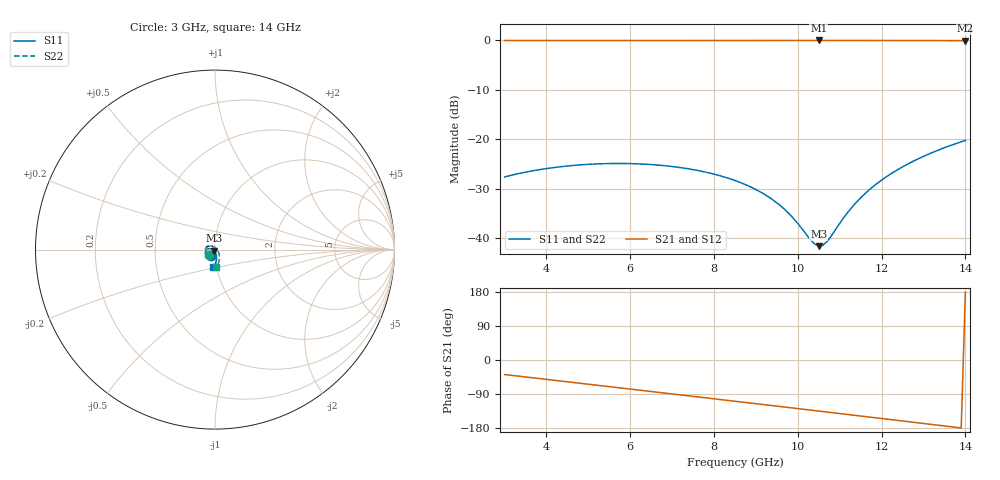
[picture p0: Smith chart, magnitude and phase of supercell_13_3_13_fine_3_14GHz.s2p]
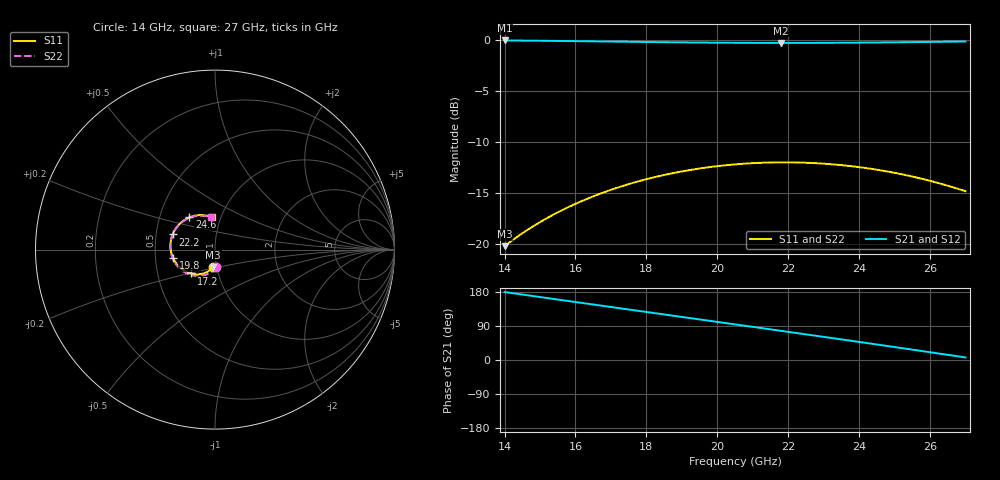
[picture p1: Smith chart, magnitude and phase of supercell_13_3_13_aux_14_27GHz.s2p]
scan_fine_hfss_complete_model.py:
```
#!/usr/bin/env python3
"""Coarse complete-model operating scan using joined 3--27 GHz HFSS data."""

from __future__ import annotations

import csv
import json
import logging
import sys
from pathlib import Path

import matplotlib

matplotlib.use("Agg")
import matplotlib.pyplot as plt
import numpy as np


ROOT = Path(__file__).resolve().parents[1]
sys.path[:0] = [str(ROOT / "code"), str(ROOT / "scripts")]

from analyze_hfss_supercell import (  # noqa: E402
    SUPERCELL_CELLS,
    read_touchstone,
)
from hfss_bloch import apply_bloch_parameters  # noqa: E402
from scan_hfss_loading_pattern import make_cell  # noqa: E402
from twpa_project_utils import gain_metrics, load_hfss_cell_parameters  # noqa: E402
from twpasolver import TWPAnalysis  # noqa: E402
from twpasolver.logger import log  # noqa: E402
from twpasolver.models import TWPA  # noqa: E402
from twpasolver.modes_rwa import ModeArrayFactory  # noqa: E402


def score(row: dict[str, object]) -> tuple[float, ...]:
    minimum = float(row["minimum_in_band_gain_db"])
    ripple = float(row["ripple_peak_to_peak_db"])
    fraction = float(row["fraction_above_17db"])
    return (
        float(minimum >= 17.0 and ripple <= 3.0),
        fraction,
        -max(0.0, 17.0 - minimum),
        -ripple,
        -abs(float(row["mean_in_band_gain_db"]) - 22.0),
    )


def main() -> None:
    log.setLevel(logging.WARNING)
    inputs = ROOT / "hfss_inputs"
    output = ROOT / "results" / "bloch_corrected" / "step_16_fine_hfss_complete_scan"
    output.mkdir(parents=True, exist_ok=True)

    cells, provenance = load_hfss_cell_parameters(inputs / "hfss_cell_parameters.csv")
    f1, s1 = read_touchstone(inputs / "supercell_13_3_13_fine_3_14GHz.s2p")
    f2, s2 = read_touchstone(inputs / "supercell_13_3_13_aux_14_27GHz.s2p")
    if not np.allclose(s1[-1], s2[0], rtol=1e-10, atol=1e-12):
        raise ValueError("HFSS sweeps disagree at their 14 GHz overlap")
    measured_f = np.concatenate((f1, f2[1:]))
    measured_s = np.concatenate((s1, s2[1:]), axis=0)

    twpa = TWPA(
        cells=[
            make_cell(cells["unloaded"], 13),
            make_cell(cells["loaded"], 3),
            make_cell(cells["unloaded"], 13),
        ],
        N=1407,
        Istar=2e-3,
        Idc=315e-6,
        Ip0=310e-6,
    )
    analysis = TWPAnalysis(twpa=twpa, f_arange=(0.2, 30.0, 0.002), unit="GHz")

    def prepare(idc: float, ip: float) -> None:
        analysis.twpa.Idc = idc
        analysis.twpa.Ip0 = ip
        analysis.update_base_data()
        apply_bloch_parameters(
            analysis.data, measured_f, measured_s, SUPERCELL_CELLS
        )
        modes = ModeArrayFactory.create_extended_3wm(
            analysis.data,
            n_pump_harmonics=1,
            n_frequency_conversion=1,
            n_signal_harmonics=1,
        )
        analysis.add_mode_array("fine_hfss_extended", modes)

    coarse_signals = np.arange(4.0, 8.0001, 0.5)
    pumps = np.arange(12.6, 13.4001, 0.1)
    idcs = np.array([250, 300, 350, 400]) * 1e-6
    ips = np.array([180, 230, 280, 330]) * 1e-6
    rows: list[dict[str, object]] = []
    for idc in idcs:
        for ip in ips:
            prepare(float(idc), float(ip))
            for pump in pumps:
                try:
                    result = analysis.gain(
                        coarse_signals,
                        pump=float(pump),
                        Is0=1.4e-6,
                        Ip0=None,
                        model="general",
                        mode_array_config="fine_hfss_extended",
                        thin=300,
                        save=False,
                    )
                    gain = np.asarray(result["gain_db"], dtype=float)
                except Exception:
                    continue
                if not np.all(np.isfinite(gain)):
                    continue
                metrics = gain_metrics(coarse_signals, gain, band=(4.0, 8.0))
                rows.append(
                    {
                        "pump_GHz": float(pump),
                        "Idc_A": float(idc),
                        "Ip0_A": float(ip),
                        **metrics,
                        "minimum_in_band_gain_db": float(np.min(gain)),
                        "maximum_in_band_gain_db": float(np.max(gain)),
                    }
                )

    rows.sort(key=score, reverse=True)
    if not rows:
        raise RuntimeError("No finite complete-model points")
    with (output / "01_coarse_complete_model_scan.csv").open("w", newline="") as handle:
        writer = csv.DictWriter(handle, fieldnames=list(rows[0]))
        writer.writeheader()
        writer.writerows(rows)

    # Re-evaluate the five best distinct settings on the dense signal grid.
    signals = np.arange(4.0, 8.0001, 0.1)
    refined: list[dict[str, object]] = []
    curves: list[np.ndarray] = []
    for candidate in rows[:5]:
        prepare(float(candidate["Idc_A"]), float(candidate["Ip0_A"]))
        result = analysis.gain(
            signals,
            pump=float(candidate["pump_GHz"]),
            Is0=1.4e-6,
            Ip0=None,
            model="general",
            mode_array_config="fine_hfss_extended",
            thin=300,
            save=False,
        )
        gain = np.asarray(result["gain_db"], dtype=float)
        metrics = gain_metrics(signals, gain, band=(4.0, 8.0))
        refined.append(
            {
                "pump_GHz": float(candidate["pump_GHz"]),
                "Idc_A": float(candidate["Idc_A"]),
                "Ip0_A": float(candidate["Ip0_A"]),
                **metrics,
                "minimum_in_band_gain_db": float(np.min(gain)),
                "maximum_in_band_gain_db": float(np.max(gain)),
            }
        )
        curves.append(gain)
    order = sorted(range(len(refined)), key=lambda i: score(refined[i]), reverse=True)
    refined = [refined[i] for i in order]
    curves = [curves[i] for i in order]

    with (output / "02_refined_complete_model_scan.csv").open("w", newline="") as handle:
        writer = csv.DictWriter(handle, fieldnames=list(refined[0]))
        writer.writeheader()
        writer.writerows(refined)
    with (output / "03_refined_gain_curves.csv").open("w", newline="") as handle:
        writer = csv.writer(handle)
        writer.writerow(["signal_GHz", *[f"candidate_{i+1}_gain_dB" for i in range(len(curves))]])
        writer.writerows(zip(signals, *curves))

    best = refined[0]
    report = {
        "status": "complete_model_scan_with_fine_3_to_27_GHz_HFSS_data",
        "evaluated_coarse_points": len(rows),
        "coarse_grid": {
            "signals_GHz": [4.0, 8.0, 0.5],
            "pumps_GHz": [12.6, 13.4, 0.1],
            "Idc_uA": [250, 300, 350, 400],
            "Ip0_uA": [180, 230, 280, 330],
        },
        "selected": best,
        "strict_pass": bool(
            float(best["minimum_in_band_gain_db"]) >= 17.0
            and float(best["ripple_peak_to_peak_db"]) <= 3.0
        ),
        "top_refined": refined,
        "hfss_provenance": provenance,
    }
    (output / "04_complete_model_scan_assessment.json").write_text(
        json.dumps(report, indent=2) + "\n"
    )

    fig, ax = plt.subplots(figsize=(9, 5.5))
    for index, (row, gain) in enumerate(zip(refined, curves), start=1):
        ax.plot(
            signals,
            gain,
            label=(
                f"{index}: fp={row['pump_GHz']:.2f} GHz, "
                f"Idc={row['Idc_A']*1e6:.0f} µA, Ip={row['Ip0_A']*1e6:.0f} µA"
            ),
        )
    ax.axhline(17, color="k", linestyle=":", label="17 dB minimum")
    ax.set(
        xlabel="Signal frequency (GHz)",
        ylabel="Complete-model gain (dB)",
        title="Fine-HFSS complete-model operating scan",
    )
    ax.grid(True, alpha=0.3)
    ax.legend(fontsize=8)
    fig.tight_layout()
    fig.savefig(output / "05_complete_model_candidates.png", dpi=180)
    fig.savefig(output / "05_complete_model_candidates.pdf")
    plt.close(fig)
    print(json.dumps(report, indent=2))


if __name__ == "__main__":
    main()
```
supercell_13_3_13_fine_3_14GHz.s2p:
! Touchstone file exported from HFSS 2026.1.0
!  File:  C:/Users/urbaneja/Ansys/13-3-3_super_cell.aedt
!  Generated:  09:21:28 AM Aug 12, 2026
!  Design:  HFSSDesign_Supercell_13_3_13
!  Project:  13-3-3_super_cell
!  Setup:  Setup1
!  Solution:  Sweep_fine_3_14GHz
! Variables:
!  stub_length = 12um
# GHz S MA R 50.000000
! Terminal data exported
! Port[1] = Port1
! Port[2] = Port2
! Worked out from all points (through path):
!   111 points, 3 GHz to 14 GHz, reference 50 ohm
!   highest |S21| = 0.00 dB at 10.5 GHz (marker M1); lowest = 0.0 dB at 14 GHz (marker M2)
!   group delay of S21, straight-line fit = 35.9 ps
!   lowest |S11| = -41.6 dB at 10.5 GHz (marker M3), VSWR 1.02, Z = 49.4 - j0.544 ohm
!   |S11| at or under -10 dB: start of sweep to end of sweep
!   |S22| runs from -41.6 to -20.2 dB; largest |S21 - S12| = 5.2e-05
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3  0.04161 -118.1  0.9991 -38.4  0.9991 -38.4  0.04161 -138.6
! Gamma 1.90211625812809E-31 2682.20511504638 1.71196688575315E-31 2578.88136852733
! Port Impedance 50 0 50 0
4.4  0.05308 -138.1  0.9986 -56.3  0.9986 -56.3  0.05308 -154.4
5.8  0.05689 -156.5  0.9984 -74.2  0.9984 -74.2  0.05689 -171.9
7.3  0.05092 -174.6  0.9987 -93.4  0.9987 -93.4  0.05092 167.7
8.5  0.03824 173.2  0.9993 -108.9  0.9993 -108.9  0.03824 149.1
9.5  0.02273 169.2  0.9997 -121.8  0.9997 -121.8  0.02273 127.2
10.5  0.008282 -138.3  1 -134.8  1 -134.8  0.008282 48.7
10.7  0.009261 -110.9  1 -137.4  1 -137.4  0.009261 16.1
11.4  0.02309 -77.8  0.9997 -146.5  0.9997 -146.5  0.02309 -35.3
12  0.03862 -77.0  0.9993 -154.4  0.9993 -154.4  0.03862 -51.8
14  0.09729 -95.6  0.9952 179.3  0.9953 179.3  0.09729 -85.7
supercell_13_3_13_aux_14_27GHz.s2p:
! Touchstone file exported from HFSS 2026.1.0
!  File:  C:/Users/urbaneja/Ansys/13-3-3_super_cell.aedt
!  Generated:  09:22:44 AM Aug 12, 2026
!  Design:  HFSSDesign_Supercell_13_3_13
!  Project:  13-3-3_super_cell
!  Setup:  Setup1
!  Solution:  Sweep_aux_14_27GHz
! Variables:
!  stub_length = 12um
# GHz S MA R 50.000000
! Terminal data exported
! Port[1] = Port1
! Port[2] = Port2
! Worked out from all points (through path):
!   66 points, 14 GHz to 27 GHz, reference 50 ohm
!   highest |S21| = -0.04 dB at 14 GHz (marker M1); lowest = -0.3 dB at 21.8 GHz (marker M2)
!   group delay of S21, straight-line fit = 36.7 ps
!   lowest |S11| = -20.2 dB at 14 GHz (marker M3), VSWR 1.22, Z = 48.1 - j9.41 ohm
!   |S11| at or under -10 dB: start of sweep to end of sweep
!   |S22| runs from -20.2 to -12.0 dB; largest |S21 - S12| = 0.00016
!   S11 on the Smith chart (normalised r, x): 14 GHz: 0.96, -0.19; 17.2 GHz: 0.74, -0.20; 19.8 GHz: 0.62, -0.06; 22.2 GHz: 0.61, +0.11; 24.6 GHz: 0.71, +0.27; 27 GHz: 0.91, +0.34
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14  0.09729 -95.6  0.9952 179.3  0.9953 179.3  0.09729 -85.7
! Gamma 0 12516.9952816227 0 12034.8092072632
! Port Impedance 50 0 50 0
15.6  0.1455 -115.0  0.9894 158.2  0.9894 158.2  0.1455 -108.5
17.2  0.1889 -135.2  0.982 137.2  0.982 137.2  0.1889 -130.4
18.6  0.2194 -153.1  0.9756 118.9  0.9756 118.9  0.2194 -149.2
19.8  0.238 -168.5  0.9713 103.2  0.9713 103.2  0.238 -165.2
20.6  0.246 -178.9  0.9693 92.7  0.9693 92.7  0.246 -175.8
21.8  0.2509 165.5  0.968 76.9  0.968 76.9  0.2509 168.3
22.2  0.2506 160.3  0.9681 71.6  0.9681 71.6  0.2506 163.0
24.6  0.2294 128.5  0.9733 39.6  0.9733 39.6  0.2294 130.8
25.8  0.2078 112.2  0.9782 23.3  0.9782 23.3  0.2078 114.4
27  0.1811 95.6  0.9834 6.7  0.9835 6.7  0.1811 97.8
